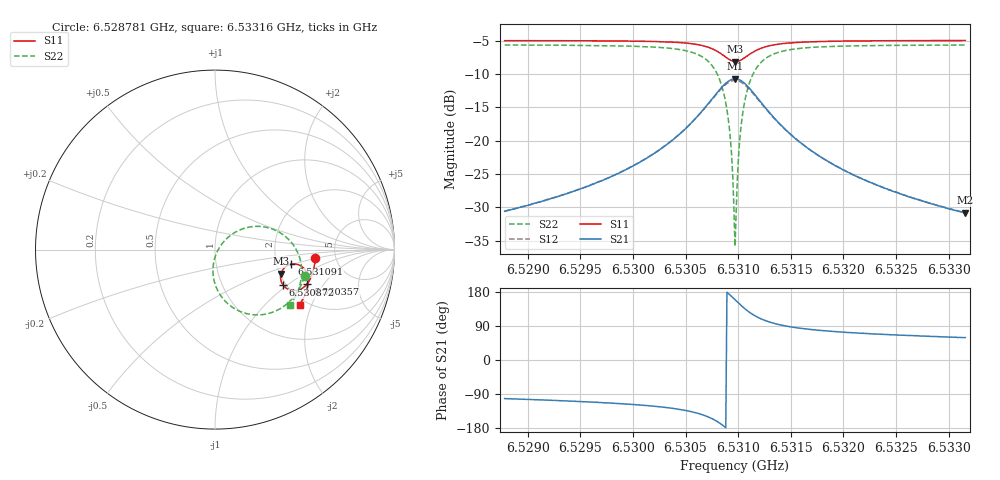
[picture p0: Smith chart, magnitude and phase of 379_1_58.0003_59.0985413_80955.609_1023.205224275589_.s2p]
#  HZ  S  RI  R  50.00
! Rohde & Schwarz Vector Network Analyzer
! Rohde-Schwarz,ZNB20-2Port,1311601062101988,3.16
! Created: UTC 3/21/2024, 1:07:14 AM
! freq[Hz]  re:S11  im:S11  re:S21  im:S21  re:S12  im:S12  re:S22  im:S22
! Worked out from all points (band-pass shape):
!   401 points, 6.528781 GHz to 6.53316 GHz, reference 50 ohm
!   highest |S21| = -10.74 dB at 6.53097 GHz (marker M1); lowest = -30.8 dB at 6.53316 GHz (marker M2)
!   |S21| within 3 dB of the highest: 6.530753 GHz to 6.531191 GHz (437.6 kHz wide, 0.0067 % of centre)
!   lowest |S11| = -8.1 dB at 6.53097 GHz (marker M3), VSWR 2.29, Z = 101 - j31.9 ohm
!   |S11| at or under -10 dB: nowhere
!   |S22| runs from -35.8 to -5.7 dB; largest |S21 - S12| = 0.011
!   S11 on the Smith chart (normalised r, x): 6.528781 GHz: 3.49, -0.47; 6.530357 GHz: 2.57, -1.40; 6.530872 GHz: 1.93, -0.94; 6.531091 GHz: 2.42, -0.48; 6.53316 GHz: 1.82, -1.65
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6.5287809e9  0.5595 -0.046  -0.00598 -0.0288  -0.00666 -0.0288  0.4991 -0.1489
6.5295143e9  0.5502 -0.1062  -0.0149 -0.0411  -0.0157 -0.0409  0.4703 -0.216
6.5302478e9  0.5232 -0.177  -0.0463 -0.0707  -0.0483 -0.0695  0.3936 -0.3085
6.5303573e9  0.5145 -0.1898  -0.0587 -0.0786  -0.061 -0.077  0.3673 -0.3266
6.5305543e9  0.4883 -0.2143  -0.0977 -0.0938  -0.1005 -0.0904  0.29 -0.3579
6.5307076e9  0.4486 -0.2283  -0.1597 -0.095  -0.1616 -0.0886  0.1766 -0.3568
6.5308061e9  0.4084 -0.2213  -0.222 -0.0672  -0.221 -0.0584  0.0712 -0.3012
6.5308718e9  0.38 -0.1984  -0.2637 -0.0178  -0.259 -0.00873  0.00745 -0.2117
6.5309156e9  0.3675 -0.1724  -0.2794 0.032  -0.2716 0.0397  -0.0113 -0.1261
6.5309265e9  0.3659 -0.165  -0.2807 0.0461  -0.2723 0.0531  -0.0111 -0.1024
6.5309593e9  0.3662 -0.1412  -0.2758 0.0896  -0.2662 0.0939  0.00381 -0.0319
6.5309703e9  0.3679 -0.1333  -0.2713 0.1038  -0.2616 0.1072  0.0133 -0.00914
6.5309812e9  0.3706 -0.1257  -0.2653 0.1175  -0.2557 0.1199  0.0253 0.0122
6.5309922e9  0.3741 -0.1184  -0.2583 0.1303  -0.2485 0.132  0.0391 0.0323
6.5310141e9  0.3831 -0.1054  -0.2405 0.1535  -0.2314 0.1535  0.0718 0.0675
6.531036e9  0.3942 -0.0949  -0.2195 0.172  -0.2112 0.1708  0.1093 0.095
6.5310907e9  0.426 -0.081  -0.162 0.1975  -0.1564 0.1947  0.2087 0.1279
6.5311673e9  0.4649 -0.0843  -0.0935 0.1956  -0.0907 0.193  0.324 0.1129
6.5312768e9  0.4979 -0.107  -0.0358 0.1655  -0.0343 0.1641  0.4181 0.0483
6.5317038e9  0.5195 -0.183  0.014 0.0818  0.0152 0.0816  0.4833 -0.1293
6.5324372e9  0.4994 -0.2555  0.0167 0.039  0.0174 0.039  0.4556 -0.2449
6.5331597e9  0.4714 -0.3084  0.0147 0.0247  0.0151 0.0244  0.4203 -0.307
